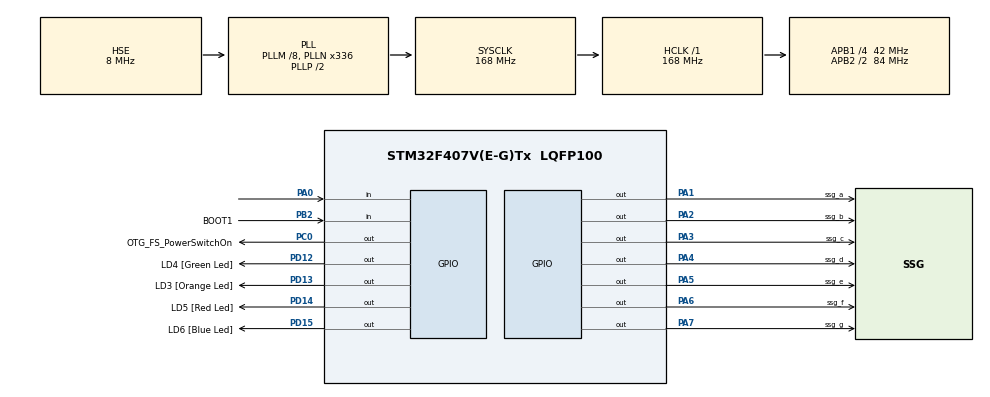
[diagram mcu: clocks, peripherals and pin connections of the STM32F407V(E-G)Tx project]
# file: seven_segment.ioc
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Mcu.Family=STM32F4
Mcu.Name=STM32F407V(E-G)Tx
Mcu.Package=LQFP100
NVIC.PriorityGroup=NVIC_PRIORITYGROUP_0
PA0-WKUP.Signal=GPIO_Input
PA1.GPIO_Label=ssg_a
PA1.Signal=GPIO_Output
PA13.GPIO_Label=SWDIO
PA13.Mode=Serial_Wire
PA13.Signal=SYS_JTMS-SWDIO
PA14.GPIO_Label=SWCLK
PA14.Mode=Serial_Wire
PA14.Signal=SYS_JTCK-SWCLK
PA2.GPIO_Label=ssg_b
PA2.Signal=GPIO_Output
PA3.GPIO_Label=ssg_c
PA3.Signal=GPIO_Output
PA4.GPIO_Label=ssg_d
PA4.Signal=GPIO_Output
PA5.GPIO_Label=ssg_e
PA5.Signal=GPIO_Output
PA6.GPIO_Label=ssg_f
PA6.Signal=GPIO_Output
PA7.GPIO_Label=ssg_g
PA7.Signal=GPIO_Output
PB10.GPIO_Label=CLK_IN [MP45DT02_CLK]
PB10.GPIO_Mode=GPIO_MODE_AF_PP
PB10.GPIO_PuPd=GPIO_NOPULL
PB10.GPIO_Speed=GPIO_SPEED_FREQ_LOW
PB10.Signal=I2S2_CK
PB2.GPIO_Label=BOOT1
PB2.GPIO_Mode=GPIO_MODE_INPUT
PB2.GPIO_PuPd=GPIO_NOPULL
PB2.Signal=GPIO_Input
PB3.GPIO_Label=SWO
PB3.Signal=SYS_JTDO-SWO
PC0.GPIO_Label=OTG_FS_PowerSwitchOn
PC0.GPIO_PuPd=GPIO_NOPULL
PC0.GPIO_Speed=GPIO_SPEED_FREQ_LOW
PC0.PinState=GPIO_PIN_SET
PC0.Signal=GPIO_Output
PC14-OSC32_IN.GPIO_Label=PC14-OSC32_IN
PC14-OSC32_IN.Mode=LSE-External-Oscillator
PC14-OSC32_IN.Signal=RCC_OSC32_IN
PC15-OSC32_OUT.GPIO_Label=PC15-OSC32_OUT
PC15-OSC32_OUT.Mode=LSE-External-Oscillator
PC15-OSC32_OUT.Signal=RCC_OSC32_OUT
PC3.GPIO_Label=PDM_OUT [MP45DT02_DOUT]
PC3.GPIO_Mode=GPIO_MODE_AF_PP
PC3.GPIO_PuPd=GPIO_NOPULL
PC3.GPIO_Speed=GPIO_SPEED_FREQ_LOW
PC3.Signal=I2S2_SD
PD12.GPIO_Label=LD4 [Green Led]
PD12.GPIO_PuPd=GPIO_NOPULL
PD12.GPIO_Speed=GPIO_SPEED_FREQ_LOW
PD12.Signal=GPIO_Output
PD13.GPIO_Label=LD3 [Orange Led]
PD13.GPIO_PuPd=GPIO_NOPULL
PD13.GPIO_Speed=GPIO_SPEED_FREQ_LOW
PD13.Signal=GPIO_Output
PD14.GPIO_Label=LD5 [Red Led]
PD14.GPIO_PuPd=GPIO_NOPULL
PD14.GPIO_Speed=GPIO_SPEED_FREQ_LOW
PD14.Signal=GPIO_Output
PD15.GPIO_Label=LD6 [Blue Led]
PD15.GPIO_PuPd=GPIO_NOPULL
PD15.GPIO_Speed=GPIO_SPEED_FREQ_LOW
PD15.Signal=GPIO_Output
PH0-OSC_IN.GPIO_Label=PH0-OSC_IN
PH0-OSC_IN.Mode=HSE-External-Oscillator
PH0-OSC_IN.Signal=RCC_OSC_IN
PH1-OSC_OUT.GPIO_Label=PH1-OSC_OUT
PH1-OSC_OUT.Mode=HSE-External-Oscillator
PH1-OSC_OUT.Signal=RCC_OSC_OUT
ProjectManager.HeapSize=0x200
ProjectManager.StackSize=0x400
ProjectManager.TargetToolchain=STM32CubeIDE
RCC.48MHZClocksFreq_Value=48000000
RCC.AHBFreq_Value=168000000
RCC.APB1CLKDivider=RCC_HCLK_DIV4
RCC.APB1Freq_Value=42000000
RCC.APB1TimFreq_Value=84000000
RCC.APB2CLKDivider=RCC_HCLK_DIV2
RCC.APB2Freq_Value=84000000
RCC.APB2TimFreq_Value=168000000
RCC.CortexFreq_Value=168000000
RCC.HCLKFreq_Value=168000000
RCC.HSE_VALUE=8000000
RCC.HSI_VALUE=16000000
RCC.PLLM=8
RCC.PLLN=336
RCC.PLLQ=7
RCC.PLLSourceVirtual=RCC_PLLSOURCE_HSE
RCC.SYSCLKFreq_VALUE=168000000
RCC.SYSCLKSource=RCC_SYSCLKSOURCE_PLLCLK
RCC.VCOOutputFreq_Value=336000000
board=STM32F407G-DISC1

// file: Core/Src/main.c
/* USER CODE BEGIN Header */
/**
 ******************************************************************************
 * @file           : main.c
 * @brief          : Main program body
 ******************************************************************************
 * @attention
 *
 * Copyright (c) 2026 STMicroelectronics.
 * All rights reserved.
 *
 * This software is licensed under terms that can be found in the LICENSE file
 * in the root directory of this software component.
 * If no LICENSE file comes with this software, it is provided AS-IS.
 *
 ******************************************************************************
 */
/* USER CODE END Header */
#include "main.h"

/* USER CODE BEGIN Includes */
#include <stdio.h>
#include <stdbool.h>
/* USER CODE END Includes */

/* USER CODE BEGIN PM */
#define COMMON_CATHODE  1
#define COMMON_ANODE    0

#define COMMON_PIN  COMMON_CATHODE
/* USER CODE END PM */

void SystemClock_Config(void);
static void MX_GPIO_Init(void);

/* USER CODE BEGIN 0 */
bool is_pressed() {

	return (HAL_GPIO_ReadPin(GPIOA, GPIO_PIN_0) == GPIO_PIN_SET);
}

uint8_t count = 0;
bool last_button_state = false;

// PA1 -> a, PA2 -> b, PA3 -> c, PA4 -> d, PA5 -> e, PA6 -> f, PA7 -> g
// Common Cathode (1 = ON)
const uint8_t seg_map[10] = { 0b00111111, // 0
		0b00000110, // 1
		0b01011011, // 2
		0b01001111, // 3
		0b01100110, // 4
		0b01101101, // 5
		0b01111101, // 6
		0b00000111, // 7
		0b01111111, // 8
		0b01101111  // 9
		};

void SevenSeg_Display(uint8_t num) {
	if (num > 9)
		num = 0;

	uint16_t data = (seg_map[num] << 1) & 0x00FE;   // PA1–PA7

#if (COMMON_PIN == COMMON_ANODE)
	data = ~data & 0x00FE;
#endif

	GPIOA->ODR &= ~0x00FE;    // clear PA1–PA7
	GPIOA->ODR |= data;      // write pattern
}

/* USER CODE END 0 */

int main(void) {

	/* MCU Configuration--------------------------------------------------------*/

	/* Reset of all peripherals, Initializes the Flash interface and the Systick. */
	HAL_Init();

	/* Configure the system clock */
	SystemClock_Config();

	/* Initialize all configured peripherals */
	MX_GPIO_Init();

	/* Infinite loop */
	while (1) {

		/* USER CODE BEGIN 3 */
		bool current_state = is_pressed();
		if (current_state && !last_button_state) {
			count++;
			if (count > 9)
				count = 0;

			SevenSeg_Display(count);
			HAL_Delay(50);   // debounce
		}

		last_button_state = current_state;
	}
	/* USER CODE END 3 */
}

void SystemClock_Config(void) {
	RCC_OscInitTypeDef RCC_OscInitStruct = { 0 };
	RCC_ClkInitTypeDef RCC_ClkInitStruct = { 0 };

	/** Configure the main internal regulator output voltage
	 */
	__HAL_RCC_PWR_CLK_ENABLE();
	__HAL_PWR_VOLTAGESCALING_CONFIG(PWR_REGULATOR_VOLTAGE_SCALE1);

	/** Initializes the RCC Oscillators according to the specified parameters
	 * in the RCC_OscInitTypeDef structure.
	 */
	RCC_OscInitStruct.OscillatorType = RCC_OSCILLATORTYPE_HSE;
	RCC_OscInitStruct.HSEState = RCC_HSE_ON;
	RCC_OscInitStruct.PLL.PLLState = RCC_PLL_ON;
	RCC_OscInitStruct.PLL.PLLSource = RCC_PLLSOURCE_HSE;
	RCC_OscInitStruct.PLL.PLLM = 8;
	RCC_OscInitStruct.PLL.PLLN = 336;
	RCC_OscInitStruct.PLL.PLLP = RCC_PLLP_DIV2;
	RCC_OscInitStruct.PLL.PLLQ = 7;
	if (HAL_RCC_OscConfig(&RCC_OscInitStruct) != HAL_OK) {
		Error_Handler();
	}

	/** Initializes the CPU, AHB and APB buses clocks
	 */
	RCC_ClkInitStruct.ClockType = RCC_CLOCKTYPE_HCLK | RCC_CLOCKTYPE_SYSCLK
			| RCC_CLOCKTYPE_PCLK1 | RCC_CLOCKTYPE_PCLK2;
	RCC_ClkInitStruct.SYSCLKSource = RCC_SYSCLKSOURCE_PLLCLK;
	RCC_ClkInitStruct.AHBCLKDivider = RCC_SYSCLK_DIV1;
	RCC_ClkInitStruct.APB1CLKDivider = RCC_HCLK_DIV4;
	RCC_ClkInitStruct.APB2CLKDivider = RCC_HCLK_DIV2;

	if (HAL_RCC_ClockConfig(&RCC_ClkInitStruct, FLASH_LATENCY_5) != HAL_OK) {
		Error_Handler();
	}
}

static void MX_GPIO_Init(void) {
	GPIO_InitTypeDef GPIO_InitStruct = { 0 };

	/* GPIO Ports Clock Enable */
	__HAL_RCC_GPIOC_CLK_ENABLE();
	__HAL_RCC_GPIOH_CLK_ENABLE();
	__HAL_RCC_GPIOA_CLK_ENABLE();
	__HAL_RCC_GPIOB_CLK_ENABLE();
	__HAL_RCC_GPIOD_CLK_ENABLE();

	/*Configure GPIO pin Output Level */
	HAL_GPIO_WritePin(OTG_FS_PowerSwitchOn_GPIO_Port, OTG_FS_PowerSwitchOn_Pin,
			GPIO_PIN_SET);

	/*Configure GPIO pin Output Level */
	HAL_GPIO_WritePin(GPIOA,
			ssg_a_Pin | ssg_b_Pin | ssg_c_Pin | ssg_d_Pin | ssg_e_Pin
					| ssg_f_Pin | ssg_g_Pin, GPIO_PIN_RESET);

	/*Configure GPIO pin Output Level */
	HAL_GPIO_WritePin(GPIOD, LD4_Pin | LD3_Pin | LD5_Pin | LD6_Pin,
			GPIO_PIN_RESET);

	/*Configure GPIO pin : OTG_FS_PowerSwitchOn_Pin */
	GPIO_InitStruct.Pin = OTG_FS_PowerSwitchOn_Pin;
	GPIO_InitStruct.Mode = GPIO_MODE_OUTPUT_PP;
	GPIO_InitStruct.Pull = GPIO_NOPULL;
	GPIO_InitStruct.Speed = GPIO_SPEED_FREQ_LOW;
	HAL_GPIO_Init(OTG_FS_PowerSwitchOn_GPIO_Port, &GPIO_InitStruct);

	/*Configure GPIO pin : PDM_OUT_Pin */
	GPIO_InitStruct.Pin = PDM_OUT_Pin;
	GPIO_InitStruct.Mode = GPIO_MODE_AF_PP;
	GPIO_InitStruct.Pull = GPIO_NOPULL;
	GPIO_InitStruct.Speed = GPIO_SPEED_FREQ_LOW;
	GPIO_InitStruct.Alternate = GPIO_AF5_SPI2;
	HAL_GPIO_Init(PDM_OUT_GPIO_Port, &GPIO_InitStruct);

	/*Configure GPIO pin : PA0 */
	GPIO_InitStruct.Pin = GPIO_PIN_0;
	GPIO_InitStruct.Mode = GPIO_MODE_INPUT;
	GPIO_InitStruct.Pull = GPIO_NOPULL;
	HAL_GPIO_Init(GPIOA, &GPIO_InitStruct);

	/*Configure GPIO pins : ssg_a_Pin ssg_b_Pin ssg_c_Pin ssg_d_Pin
	 ssg_e_Pin ssg_f_Pin ssg_g_Pin */
	GPIO_InitStruct.Pin = ssg_a_Pin | ssg_b_Pin | ssg_c_Pin | ssg_d_Pin
			| ssg_e_Pin | ssg_f_Pin | ssg_g_Pin;
	GPIO_InitStruct.Mode = GPIO_MODE_OUTPUT_PP;
	GPIO_InitStruct.Pull = GPIO_NOPULL;
	GPIO_InitStruct.Speed = GPIO_SPEED_FREQ_LOW;
	HAL_GPIO_Init(GPIOA, &GPIO_InitStruct);

	/*Configure GPIO pin : BOOT1_Pin */
	GPIO_InitStruct.Pin = BOOT1_Pin;
	GPIO_InitStruct.Mode = GPIO_MODE_INPUT;
	GPIO_InitStruct.Pull = GPIO_NOPULL;
	HAL_GPIO_Init(BOOT1_GPIO_Port, &GPIO_InitStruct);

	/*Configure GPIO pin : CLK_IN_Pin */
	GPIO_InitStruct.Pin = CLK_IN_Pin;
	GPIO_InitStruct.Mode = GPIO_MODE_AF_PP;
	GPIO_InitStruct.Pull = GPIO_NOPULL;
	GPIO_InitStruct.Speed = GPIO_SPEED_FREQ_LOW;
	GPIO_InitStruct.Alternate = GPIO_AF5_SPI2;
	HAL_GPIO_Init(CLK_IN_GPIO_Port, &GPIO_InitStruct);

	/*Configure GPIO pins : LD4_Pin LD3_Pin LD5_Pin LD6_Pin */
	GPIO_InitStruct.Pin = LD4_Pin | LD3_Pin | LD5_Pin | LD6_Pin;
	GPIO_InitStruct.Mode = GPIO_MODE_OUTPUT_PP;
	GPIO_InitStruct.Pull = GPIO_NOPULL;
	GPIO_InitStruct.Speed = GPIO_SPEED_FREQ_LOW;
	HAL_GPIO_Init(GPIOD, &GPIO_InitStruct);

}

void Error_Handler(void) {
	__disable_irq();
	while (1) {
	}
}
